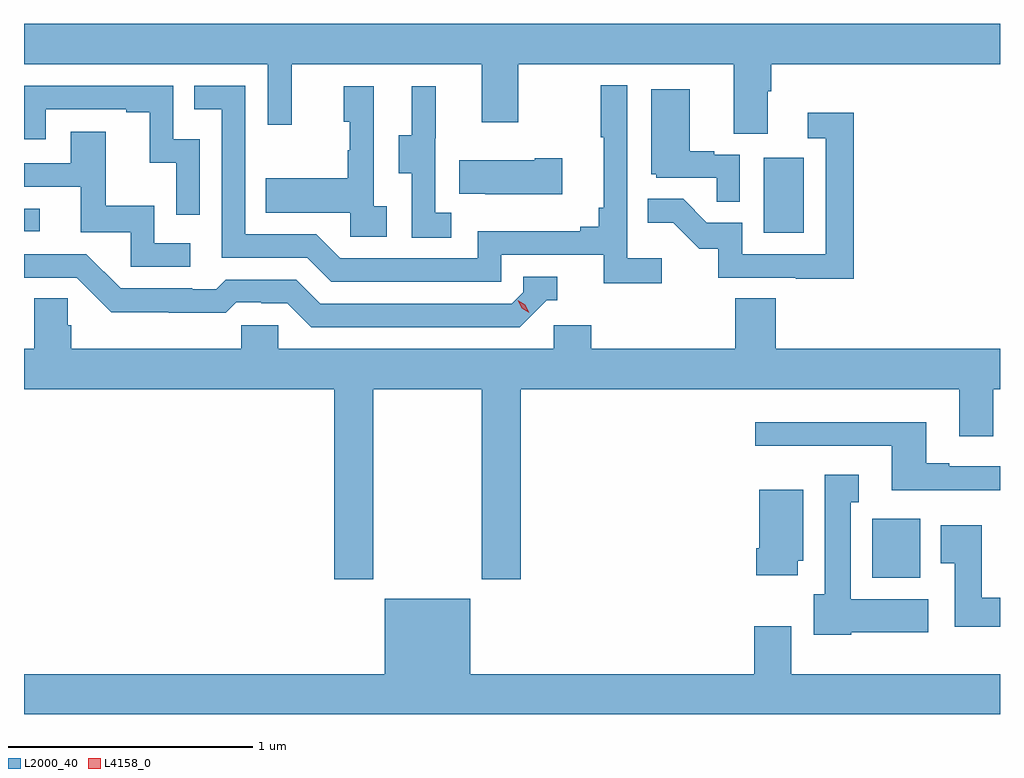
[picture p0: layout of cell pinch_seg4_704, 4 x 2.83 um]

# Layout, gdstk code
import gdstk
lib = gdstk.Library(unit=1e-6, precision=1e-09)
def R(c, l, rs):  # rectangles x0, y0, x1, y1
    for r in rs: c.add(gdstk.rectangle(r[:2], r[2:], *l))
def P(c, l, *ps):  # polygons
    for p in ps: c.add(gdstk.Polygon(p, *l))
L2000_40 = (2000, 40)
L4158_0 = (4158, 0)

pinch_seg4_704 = lib.new_cell('pinch_seg4_704')
R(pinch_seg4_704, L2000_40, [(891.746,817.358,891.943,817.6), (891.302,818.772,891.466,819.079), (888.27,818.778,888.334,818.871)])
P(pinch_seg4_704, L2000_40, [(891.319,819.352),(891.332,819.352),(891.332,819.464),(892.27,819.464),(892.27,819.628),(888.27,819.628),(888.27,819.464),(889.269,819.464),(889.269,819.216),(889.367,819.216),(889.367,819.464),(890.147,819.464),(890.147,819.225),(890.295,819.225),(890.295,819.464),(891.179,819.464),(891.179,819.178),(891.319,819.178)],
  [(890.884,818.668),(890.742,818.668),(890.742,819.376),(890.634,819.376),(890.634,819.163),(890.645,819.163),(890.645,818.875),(890.626,818.875),(890.626,818.798),(890.549,818.798),(890.549,818.779),(890.13,818.779),(890.13,818.667),(889.566,818.667),(889.467,818.766),(889.176,818.766),(889.176,819.375),(888.967,819.375),(888.967,819.279),(889.08,819.279),(889.08,818.67),(889.43,818.67),(889.529,818.571),(890.226,818.571),(890.226,818.682),(890.645,818.682),(890.645,818.566),(890.884,818.566)],
  [(888.99,819.156),(888.882,819.156),(888.882,819.375),(888.27,819.375),(888.27,819.156),(888.36,819.156),(888.36,819.279),(888.689,819.279),(888.689,819.267),(888.785,819.267),(888.785,819.059),(888.894,819.059),(888.894,818.847),(888.99,818.847)],
  [(889.756,818.882),(889.704,818.882),(889.704,819.373),(889.58,819.373),(889.58,819.228),(889.606,819.228),(889.606,819.11),(889.596,819.11),(889.596,818.995),(889.261,818.995),(889.261,818.855),(889.608,818.855),(889.608,818.757),(889.756,818.757)],
  [(890.02,818.855),(889.956,818.855),(889.956,819.159),(889.958,819.159),(889.958,819.373),(889.859,819.373),(889.859,819.171),(889.805,819.171),(889.805,819.016),(889.86,819.016),(889.86,818.752),(890.02,818.752)],
  [(891.204,819.093),(891.098,819.093),(891.098,819.106),(890.998,819.106),(890.998,819.361),(890.84,819.361),(890.84,819.012),(890.862,819.012),(890.862,818.997),(891.109,818.997),(891.109,818.899),(891.204,818.899)],
  [(891.671,819.265),(891.483,819.265),(891.483,819.159),(891.555,819.159),(891.555,818.685),(891.213,818.685),(891.213,818.814),(891.069,818.814),(890.971,818.912),(890.827,818.912),(890.827,818.813),(890.931,818.813),(891.038,818.706),(891.115,818.706),(891.115,818.589),(891.433,818.589),(891.433,818.584),(891.671,818.584)],
  [(888.952,818.73),(888.804,818.73),(888.804,818.884),(888.605,818.884),(888.605,819.187),(888.461,819.187),(888.461,819.057),(888.27,819.057),(888.27,818.961),(888.503,818.961),(888.503,818.775),(888.708,818.775),(888.708,818.634),(888.952,818.634)],
  [(890.476,819.078),(890.363,819.078),(890.363,819.07),(890.053,819.07),(890.053,818.933),(890.161,818.933),(890.161,818.93),(890.476,818.93)],
  [(890.412,818.496),(890.455,818.496),(890.455,818.592),(890.316,818.592),(890.316,818.529),(890.268,818.481),(889.485,818.481),(889.386,818.58),(889.097,818.58),(889.058,818.541),(888.959,818.541),(888.959,818.544),(888.666,818.544),(888.525,818.685),(888.27,818.685),(888.27,818.589),(888.486,818.589),(888.628,818.447),(888.864,818.447),(888.864,818.445),(889.097,818.445),(889.139,818.487),(889.242,818.487),(889.242,818.484),(889.349,818.484),(889.448,818.385),(890.301,818.385)],
  [(889.701,818.132),(890.146,818.132),(890.146,817.353),(890.306,817.353),(890.306,818.132),(892.103,818.132),(892.103,817.938),(892.243,817.938),(892.243,818.132),(892.27,818.132),(892.27,818.296),(891.35,818.296),(891.35,818.504),(891.185,818.504),(891.185,818.296),(890.594,818.296),(890.594,818.394),(890.442,818.394),(890.442,818.296),(889.311,818.296),(889.311,818.394),(889.161,818.394),(889.161,818.296),(888.464,818.296),(888.464,818.394),(888.449,818.394),(888.449,818.504),(888.312,818.504),(888.312,818.296),(888.27,818.296),(888.27,818.132),(889.541,818.132),(889.541,817.353),(889.701,817.353)],
  [(892.27,817.815),(892.063,817.815),(892.063,817.828),(891.967,817.828),(891.967,817.996),(891.267,817.996),(891.267,817.899),(891.827,817.899),(891.827,817.718),(892.27,817.718)],
  [(891.66,817.136),(891.976,817.136),(891.976,817.27),(891.658,817.27),(891.658,817.667),(891.691,817.667),(891.691,817.78),(891.551,817.78),(891.551,817.29),(891.506,817.29),(891.506,817.124),(891.66,817.124)],
  [(891.442,817.428),(891.463,817.428),(891.463,817.72),(891.284,817.72),(891.284,817.48),(891.272,817.48),(891.272,817.368),(891.442,817.368)],
  [(892.27,817.276),(892.195,817.276),(892.195,817.573),(892.028,817.573),(892.028,817.417),(892.085,817.417),(892.085,817.158),(892.27,817.158)],
  [(892.27,816.964),(891.415,816.964),(891.415,817.159),(891.263,817.159),(891.263,816.964),(890.098,816.964),(890.098,817.273),(889.748,817.273),(889.748,816.964),(888.27,816.964),(888.27,816.8),(892.27,816.8)])
P(pinch_seg4_704, L4158_0, [(890.34,818.444),(890.309,818.463),(890.293,818.496),(890.293,818.496),(890.294,818.496),(890.324,818.477),(890.34,818.444),(890.34,818.444)])

lib.write_gds('pinch_seg4_704.gds')
